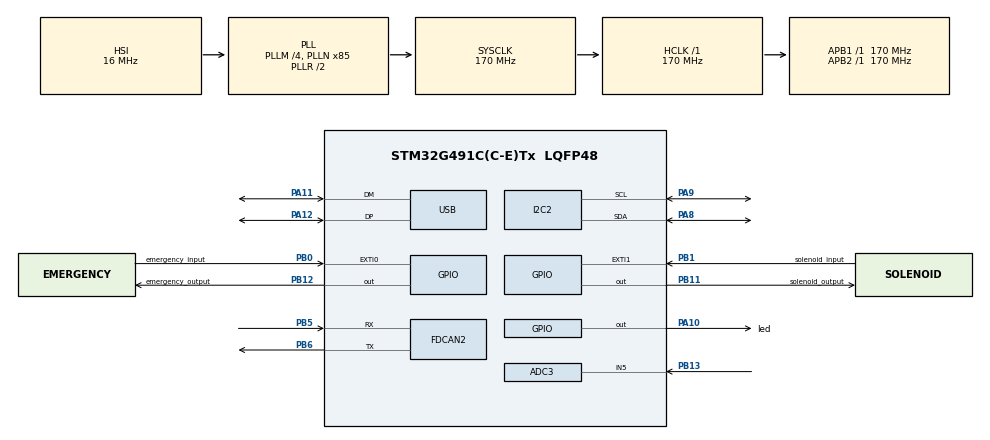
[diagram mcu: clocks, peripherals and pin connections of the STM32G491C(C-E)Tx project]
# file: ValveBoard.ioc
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ADC3.Channel-0\#ChannelRegularConversion=ADC_CHANNEL_5
ADC3.ContinuousConvMode=DISABLE
ADC3.DMAContinuousRequests=DISABLE
ADC3.NbrOfConversionFlag=1
ADC3.OffsetNumber-0\#ChannelRegularConversion=ADC_OFFSET_NONE
ADC3.Overrun=ADC_OVR_DATA_OVERWRITTEN
ADC3.Rank-0\#ChannelRegularConversion=1
ADC3.SamplingTime-0\#ChannelRegularConversion=ADC_SAMPLETIME_2CYCLES_5
ADC3.master=1
Dma.ADC3.0.Direction=DMA_PERIPH_TO_MEMORY
Dma.ADC3.0.EventEnable=DISABLE
Dma.ADC3.0.Instance=DMA1_Channel1
Dma.ADC3.0.MemDataAlignment=DMA_MDATAALIGN_HALFWORD
Dma.ADC3.0.MemInc=DMA_MINC_ENABLE
Dma.ADC3.0.Mode=DMA_CIRCULAR
Dma.ADC3.0.PeriphDataAlignment=DMA_PDATAALIGN_HALFWORD
Dma.ADC3.0.PeriphInc=DMA_PINC_DISABLE
Dma.ADC3.0.Polarity=HAL_DMAMUX_REQ_GEN_RISING
Dma.ADC3.0.Priority=DMA_PRIORITY_MEDIUM
Dma.ADC3.0.RequestNumber=1
Dma.ADC3.0.SignalID=NONE
Dma.ADC3.0.SyncEnable=DISABLE
Dma.ADC3.0.SyncPolarity=HAL_DMAMUX_SYNC_NO_EVENT
Dma.ADC3.0.SyncRequestNumber=1
Dma.ADC3.0.SyncSignalID=NONE
Dma.Request0=ADC3
FDCAN2.CalculateBaudRateNominal=499999
FDCAN2.CalculateTimeBitNominal=2000
FDCAN2.CalculateTimeQuantumNominal=117.64705882352942
FDCAN2.NominalPrescaler=20
FDCAN2.NominalSyncJumpWidth=2
FDCAN2.NominalTimeSeg1=14
FDCAN2.NominalTimeSeg2=2
I2C2.Timing=0x40B285C2
Mcu.Family=STM32G4
Mcu.Name=STM32G491C(C-E)Tx
Mcu.Package=LQFP48
NVIC.DMA1_Channel1_IRQn=true\:0\:0\:false\:false\:true\:false\:true\:true
NVIC.PriorityGroup=NVIC_PRIORITYGROUP_4
NVIC.TIM6_DAC_IRQn=true\:15\:0\:false\:false\:true\:false\:true\:true
NVIC.TimeBase=TIM6_DAC_IRQn
NVIC.TimeBaseIP=TIM6
NVIC.USB_LP_IRQn=true\:0\:0\:false\:false\:true\:false\:true\:true
PA10.GPIO_Label=led
PA10.GPIO_PuPd=GPIO_PULLDOWN
PA10.Signal=GPIO_Output
PA11.Mode=Device
PA11.Signal=USB_DM
PA12.Mode=Device
PA12.Signal=USB_DP
PA8.Mode=I2C
PA8.Signal=I2C2_SDA
PA9.Mode=I2C
PA9.Signal=I2C2_SCL
PB0.GPIO_Label=emergency_input
PB0.GPIO_PuPd=GPIO_PULLDOWN
PB0.Signal=GPXTI0
PB1.GPIO_Label=solenoid_input
PB1.GPIO_PuPd=GPIO_PULLDOWN
PB1.Signal=GPXTI1
PB11.GPIO_Label=solenoid_output
PB11.GPIO_PuPd=GPIO_PULLDOWN
PB11.Signal=GPIO_Output
PB12.GPIO_Label=emergency_output
PB12.GPIO_PuPd=GPIO_PULLDOWN
PB12.Signal=GPIO_Output
PB13.Mode=IN5-Single-Ended
PB13.Signal=ADC3_IN5
PB5.Mode=FDCAN_Activate
PB5.Signal=FDCAN2_RX
PB6.Mode=FDCAN_Activate
PB6.Signal=FDCAN2_TX
PC14-OSC32_IN.Mode=LSE-External-Oscillator
PC14-OSC32_IN.Signal=RCC_OSC32_IN
PC15-OSC32_OUT.Mode=LSE-External-Oscillator
PC15-OSC32_OUT.Signal=RCC_OSC32_OUT
PF0-OSC_IN.Mode=HSE-External-Oscillator
PF0-OSC_IN.Signal=RCC_OSC_IN
PF1-OSC_OUT.Mode=HSE-External-Oscillator
PF1-OSC_OUT.Signal=RCC_OSC_OUT
ProjectManager.HeapSize=0x200
ProjectManager.StackSize=0x400
ProjectManager.TargetToolchain=CMake
RCC.ADC12Freq_Value=170000000
RCC.ADC345Freq_Value=170000000
RCC.AHBFreq_Value=170000000
RCC.APB1Freq_Value=170000000
RCC.APB1TimFreq_Value=170000000
RCC.APB2Freq_Value=170000000
RCC.APB2TimFreq_Value=170000000
RCC.CortexFreq_Value=170000000
RCC.EXTERNAL_CLOCK_VALUE=12288000
RCC.HCLKFreq_Value=170000000
RCC.HSE_VALUE=8000000
RCC.HSI48_VALUE=48000000
RCC.HSI_VALUE=16000000
RCC.PLLM=RCC_PLLM_DIV4
RCC.PLLN=85
RCC.SYSCLKFreq_VALUE=170000000
RCC.SYSCLKSource=RCC_SYSCLKSOURCE_PLLCLK
RCC.VCOOutputFreq_Value=340000000
USB_DEVICE.CLASS_NAME_FS=CDC
USB_DEVICE.VirtualMode=Cdc
USB_DEVICE.VirtualModeFS=Cdc_FS
VP_SYS_VS_DBSignals.Mode=DisableDeadBatterySignals
VP_SYS_VS_tim6.Mode=TIM6
VP_USB_DEVICE_VS_USB_DEVICE_CDC_FS.Mode=CDC_FS
board=custom

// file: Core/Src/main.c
/* USER CODE BEGIN Header */
/**
  ******************************************************************************
  * @file           : main.c
  * @brief          : Main program body
  ******************************************************************************
  * @attention
  *
  * Copyright (c) 2025 STMicroelectronics.
  * All rights reserved.
  *
  * This software is licensed under terms that can be found in the LICENSE file
  * in the root directory of this software component.
  * If no LICENSE file comes with this software, it is provided AS-IS.
  *
  ******************************************************************************
  */
/* USER CODE END Header */
#include "main.h"
#include "usb_device.h"

/* USER CODE BEGIN Includes */
#include "ltc2990.h"
#include "usbd_cdc_if.h"
/* USER CODE END Includes */

ADC_HandleTypeDef hadc3;
DMA_HandleTypeDef hdma_adc3;

FDCAN_HandleTypeDef hfdcan2;

I2C_HandleTypeDef hi2c2;

void SystemClock_Config(void);
static void MX_GPIO_Init(void);
static void MX_DMA_Init(void);
static void MX_ADC3_Init(void);
static void MX_FDCAN2_Init(void);
static void MX_I2C2_Init(void);

int main(void)
{

  /* MCU Configuration--------------------------------------------------------*/

  /* Reset of all peripherals, Initializes the Flash interface and the Systick. */
  HAL_Init();

  /* Configure the system clock */
  SystemClock_Config();

  /* Initialize all configured peripherals */
  MX_GPIO_Init();
  MX_DMA_Init();
  MX_ADC3_Init();

  HAL_ADCEx_Calibration_Start(&hadc3, ADC_SINGLE_ENDED);

  MX_FDCAN2_Init();
  MX_I2C2_Init();
  MX_USB_Device_Init();
  /* USER CODE BEGIN 2 */
  LTC2990_handle handle;
  LTC2990_Init(&handle, &hi2c2);
  if (HAL_FDCAN_Start(&hfdcan2) != HAL_OK)
  {
    Error_Handler();
  }
  /* USER CODE END 2 */

  /* Infinite loop */
  /* USER CODE BEGIN WHILE */
  float voltages[2];
  FDCAN_TxHeaderTypeDef txHeader;
  uint8_t txData[8];

  txHeader.Identifier = 0x001;
  txHeader.IdType = FDCAN_STANDARD_ID;
  txHeader.TxFrameType = FDCAN_DATA_FRAME;
  txHeader.DataLength = FDCAN_DLC_BYTES_8;
  txHeader.ErrorStateIndicator = FDCAN_ESI_ACTIVE;
  txHeader.BitRateSwitch = FDCAN_BRS_OFF;
  txHeader.FDFormat = FDCAN_CLASSIC_CAN;
  txHeader.TxEventFifoControl = FDCAN_NO_TX_EVENTS;
  txHeader.MessageMarker = 0;

  while (1)
  {
    uint16_t raw = 0;

    HAL_ADC_Start(&hadc3);
    if (HAL_ADC_PollForConversion(&hadc3, 5) == HAL_OK) {
        raw = (uint16_t)HAL_ADC_GetValue(&hadc3);   // 0..4095
        printf("ADC3 raw = %u\r\n", raw);
    }
    HAL_ADC_Stop(&hadc3);

    LTC2990_ReadVoltages(&handle, voltages);
    uint16_t voltage0 = (uint16_t)(voltages[0]*1000);
    uint16_t voltage1 = (uint16_t)(voltages[1]*1000);
    printf("Voltage 0 = %u\r\n", voltage0);
    HAL_Delay(10);
    printf("Voltage 1 = %u\r\n", voltage1);

    txData[0] = (raw >> 8) & 0xFF;
    txData[1] = raw & 0xFF;
    txData[2] = (voltage0 >> 8) & 0xFF;
    txData[3] = voltage0 & 0xFF;
    txData[4] = (voltage1 >> 8) & 0xFF;
    txData[5] = voltage1 & 0xFF;
    txData[6] = 0x00; //reserved
    txData[7] = txData[0] ^ txData[1] ^ txData[2] ^ txData[3] ^
                txData[4] ^ txData[5] ^ txData[6];

    if (HAL_FDCAN_AddMessageToTxFifoQ(&hfdcan2, &txHeader, txData) != HAL_OK)
    {
      Error_Handler();
    }
    HAL_GPIO_WritePin(led_GPIO_Port, led_Pin, GPIO_PIN_SET);
    HAL_Delay(50);
    HAL_GPIO_WritePin(led_GPIO_Port, led_Pin, GPIO_PIN_RESET);
    HAL_Delay(50);
    /* USER CODE END WHILE */

  }
}

void SystemClock_Config(void)
{
  RCC_OscInitTypeDef RCC_OscInitStruct = {0};
  RCC_ClkInitTypeDef RCC_ClkInitStruct = {0};

  /** Configure the main internal regulator output voltage
  */
  HAL_PWREx_ControlVoltageScaling(PWR_REGULATOR_VOLTAGE_SCALE1_BOOST);

  /** Initializes the RCC Oscillators according to the specified parameters
  * in the RCC_OscInitTypeDef structure.
  */
  RCC_OscInitStruct.OscillatorType = RCC_OSCILLATORTYPE_HSI|RCC_OSCILLATORTYPE_HSI48;
  RCC_OscInitStruct.HSIState = RCC_HSI_ON;
  RCC_OscInitStruct.HSICalibrationValue = RCC_HSICALIBRATION_DEFAULT;
  RCC_OscInitStruct.HSI48State = RCC_HSI48_ON;
  RCC_OscInitStruct.PLL.PLLState = RCC_PLL_ON;
  RCC_OscInitStruct.PLL.PLLSource = RCC_PLLSOURCE_HSI;
  RCC_OscInitStruct.PLL.PLLM = RCC_PLLM_DIV4;
  RCC_OscInitStruct.PLL.PLLN = 85;
  RCC_OscInitStruct.PLL.PLLP = RCC_PLLP_DIV2;
  RCC_OscInitStruct.PLL.PLLQ = RCC_PLLQ_DIV2;
  RCC_OscInitStruct.PLL.PLLR = RCC_PLLR_DIV2;
  if (HAL_RCC_OscConfig(&RCC_OscInitStruct) != HAL_OK)
  {
    Error_Handler();
  }

  /** Initializes the CPU, AHB and APB buses clocks
  */
  RCC_ClkInitStruct.ClockType = RCC_CLOCKTYPE_HCLK|RCC_CLOCKTYPE_SYSCLK
                              |RCC_CLOCKTYPE_PCLK1|RCC_CLOCKTYPE_PCLK2;
  RCC_ClkInitStruct.SYSCLKSource = RCC_SYSCLKSOURCE_PLLCLK;
  RCC_ClkInitStruct.AHBCLKDivider = RCC_SYSCLK_DIV1;
  RCC_ClkInitStruct.APB1CLKDivider = RCC_HCLK_DIV1;
  RCC_ClkInitStruct.APB2CLKDivider = RCC_HCLK_DIV1;

  if (HAL_RCC_ClockConfig(&RCC_ClkInitStruct, FLASH_LATENCY_4) != HAL_OK)
  {
    Error_Handler();
  }
}

static void MX_ADC3_Init(void)
{

  ADC_ChannelConfTypeDef sConfig = {0};

  /** Common config
  */
  hadc3.Instance = ADC3;
  hadc3.Init.ClockPrescaler = ADC_CLOCK_SYNC_PCLK_DIV4;
  hadc3.Init.Resolution = ADC_RESOLUTION_12B;
  hadc3.Init.DataAlign = ADC_DATAALIGN_RIGHT;
  hadc3.Init.GainCompensation = 0;
  hadc3.Init.ScanConvMode = ADC_SCAN_DISABLE;
  hadc3.Init.EOCSelection = ADC_EOC_SINGLE_CONV;
  hadc3.Init.LowPowerAutoWait = DISABLE;
  hadc3.Init.ContinuousConvMode = DISABLE;
  hadc3.Init.NbrOfConversion = 1;
  hadc3.Init.DiscontinuousConvMode = DISABLE;
  hadc3.Init.ExternalTrigConv = ADC_SOFTWARE_START;
  hadc3.Init.ExternalTrigConvEdge = ADC_EXTERNALTRIGCONVEDGE_NONE;
  hadc3.Init.DMAContinuousRequests = DISABLE;
  hadc3.Init.Overrun = ADC_OVR_DATA_OVERWRITTEN;
  hadc3.Init.OversamplingMode = DISABLE;
  if (HAL_ADC_Init(&hadc3) != HAL_OK)
  {
    Error_Handler();
  }

  /** Configure Regular Channel
  */
  sConfig.Channel = ADC_CHANNEL_5;
  sConfig.Rank = ADC_REGULAR_RANK_1;
  sConfig.SamplingTime = ADC_SAMPLETIME_47CYCLES_5;
  sConfig.SingleDiff = ADC_SINGLE_ENDED;
  sConfig.OffsetNumber = ADC_OFFSET_NONE;
  sConfig.Offset = 0;
  if (HAL_ADC_ConfigChannel(&hadc3, &sConfig) != HAL_OK)
  {
    Error_Handler();
  }

}

static void MX_FDCAN2_Init(void)
{

  hfdcan2.Instance = FDCAN2;
  hfdcan2.Init.ClockDivider = FDCAN_CLOCK_DIV1;
  hfdcan2.Init.FrameFormat = FDCAN_FRAME_CLASSIC;
  hfdcan2.Init.Mode = FDCAN_MODE_NORMAL;
  hfdcan2.Init.AutoRetransmission = DISABLE;
  hfdcan2.Init.TransmitPause = DISABLE;
  hfdcan2.Init.ProtocolException = DISABLE;
  hfdcan2.Init.NominalPrescaler = 20;
  hfdcan2.Init.NominalSyncJumpWidth = 2;
  hfdcan2.Init.NominalTimeSeg1 = 14;
  hfdcan2.Init.NominalTimeSeg2 = 2;
  hfdcan2.Init.DataPrescaler = 1;
  hfdcan2.Init.DataSyncJumpWidth = 1;
  hfdcan2.Init.DataTimeSeg1 = 1;
  hfdcan2.Init.DataTimeSeg2 = 1;
  hfdcan2.Init.StdFiltersNbr = 0;
  hfdcan2.Init.ExtFiltersNbr = 0;
  hfdcan2.Init.TxFifoQueueMode = FDCAN_TX_FIFO_OPERATION;
  if (HAL_FDCAN_Init(&hfdcan2) != HAL_OK)
  {
    Error_Handler();
  }

}

static void MX_I2C2_Init(void)
{

  hi2c2.Instance = I2C2;
  hi2c2.Init.Timing = 0x40B285C2;
  hi2c2.Init.OwnAddress1 = 0;
  hi2c2.Init.AddressingMode = I2C_ADDRESSINGMODE_7BIT;
  hi2c2.Init.DualAddressMode = I2C_DUALADDRESS_DISABLE;
  hi2c2.Init.OwnAddress2 = 0;
  hi2c2.Init.OwnAddress2Masks = I2C_OA2_NOMASK;
  hi2c2.Init.GeneralCallMode = I2C_GENERALCALL_DISABLE;
  hi2c2.Init.NoStretchMode = I2C_NOSTRETCH_DISABLE;
  if (HAL_I2C_Init(&hi2c2) != HAL_OK)
  {
    Error_Handler();
  }

  /** Configure Analogue filter
  */
  if (HAL_I2CEx_ConfigAnalogFilter(&hi2c2, I2C_ANALOGFILTER_ENABLE) != HAL_OK)
  {
    Error_Handler();
  }

  /** Configure Digital filter
  */
  if (HAL_I2CEx_ConfigDigitalFilter(&hi2c2, 0) != HAL_OK)
  {
    Error_Handler();
  }

}

static void MX_DMA_Init(void)
{

  /* DMA controller clock enable */
  __HAL_RCC_DMAMUX1_CLK_ENABLE();
  __HAL_RCC_DMA1_CLK_ENABLE();

  /* DMA interrupt init */
  /* DMA1_Channel1_IRQn interrupt configuration */
  HAL_NVIC_SetPriority(DMA1_Channel1_IRQn, 0, 0);
  HAL_NVIC_EnableIRQ(DMA1_Channel1_IRQn);

}

static void MX_GPIO_Init(void)
{
  GPIO_InitTypeDef GPIO_InitStruct = {0};

  /* GPIO Ports Clock Enable */
  __HAL_RCC_GPIOC_CLK_ENABLE();
  __HAL_RCC_GPIOF_CLK_ENABLE();
  __HAL_RCC_GPIOB_CLK_ENABLE();
  __HAL_RCC_GPIOA_CLK_ENABLE();

  /*Configure GPIO pin Output Level */
  HAL_GPIO_WritePin(GPIOB, solenoid_output_Pin|emergency_output_Pin, GPIO_PIN_RESET);

  /*Configure GPIO pin Output Level */
  HAL_GPIO_WritePin(led_GPIO_Port, led_Pin, GPIO_PIN_RESET);

  /*Configure GPIO pins : emergency_input_Pin solenoid_input_Pin */
  GPIO_InitStruct.Pin = emergency_input_Pin|solenoid_input_Pin;
  GPIO_InitStruct.Mode = GPIO_MODE_IT_RISING;
  GPIO_InitStruct.Pull = GPIO_PULLDOWN;
  HAL_GPIO_Init(GPIOB, &GPIO_InitStruct);

  HAL_NVIC_SetPriority(EXTI0_IRQn, 2, 0);
  HAL_NVIC_EnableIRQ(EXTI0_IRQn);

  HAL_NVIC_SetPriority(EXTI1_IRQn, 2, 0);
  HAL_NVIC_EnableIRQ(EXTI1_IRQn);

  /*Configure GPIO pins : solenoid_output_Pin emergency_output_Pin */
  GPIO_InitStruct.Pin = solenoid_output_Pin|emergency_output_Pin;
  GPIO_InitStruct.Mode = GPIO_MODE_OUTPUT_PP;
  GPIO_InitStruct.Pull = GPIO_PULLDOWN;
  GPIO_InitStruct.Speed = GPIO_SPEED_FREQ_LOW;
  HAL_GPIO_Init(GPIOB, &GPIO_InitStruct);

  /*Configure GPIO pin : led_Pin */
  GPIO_InitStruct.Pin = led_Pin;
  GPIO_InitStruct.Mode = GPIO_MODE_OUTPUT_PP;
  GPIO_InitStruct.Pull = GPIO_PULLDOWN;
  GPIO_InitStruct.Speed = GPIO_SPEED_FREQ_LOW;
  HAL_GPIO_Init(led_GPIO_Port, &GPIO_InitStruct);

}

/* USER CODE BEGIN 4 */
#ifdef __GNUC__
int _write(int file, char *ptr, int len)
{
    CDC_Transmit_FS((uint8_t*)ptr, len);
    return len;
}
#else
int fputc(int ch, FILE *f)
{
    CDC_Transmit_FS((uint8_t *)&ch, 1);
    return ch;
}
#endif /* __GNUC__ */
/* USER CODE END 4 */

void HAL_TIM_PeriodElapsedCallback(TIM_HandleTypeDef *htim)
{
  if (htim->Instance == TIM6)
  {
    HAL_IncTick();
  }
}

void Error_Handler(void)
{
  __disable_irq();
  while (1)
  {
  }
}

void HAL_GPIO_EXTI_Callback(uint16_t GPIO_Pin)
{
    if (GPIO_Pin == emergency_input_Pin) // PB0
    {
        HAL_GPIO_WritePin(emergency_output_GPIO_Port, emergency_output_Pin, GPIO_PIN_SET);
    }
    else if (GPIO_Pin == solenoid_input_Pin) // PB1
    {
        HAL_GPIO_WritePin(solenoid_output_GPIO_Port, solenoid_output_Pin, GPIO_PIN_RESET);
    }
}
